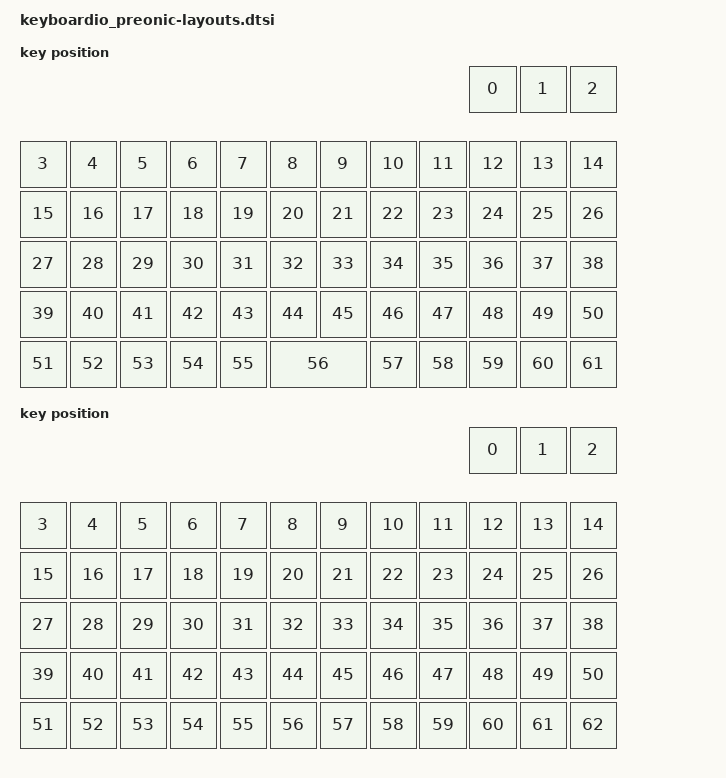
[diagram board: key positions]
/*
 * Copyright (c) 2025 Joshua T
 *
 * SPDX-License-Identifier: MIT
 */

#include <physical_layouts.dtsi>

/ {
    mit_layout: mit_layout {
        compatible = "zmk,physical-layout";
        display-name = "MIT - 2u Spacebar";
        transform = <&mit_transform>;
        kscan = <&kscan>;
        keys  //                     w   h    x    y     rot    rx    ry
            = <&key_physical_attrs 100 100  900    0       0     0     0>
            , <&key_physical_attrs 100 100 1000    0       0     0     0>
            , <&key_physical_attrs 100 100 1100    0       0     0     0>
            , <&key_physical_attrs 100 100    0  150       0     0     0>
            , <&key_physical_attrs 100 100  100  150       0     0     0>
            , <&key_physical_attrs 100 100  200  150       0     0     0>
            , <&key_physical_attrs 100 100  300  150       0     0     0>
            , <&key_physical_attrs 100 100  400  150       0     0     0>
            , <&key_physical_attrs 100 100  500  150       0     0     0>
            , <&key_physical_attrs 100 100  600  150       0     0     0>
            , <&key_physical_attrs 100 100  700  150       0     0     0>
            , <&key_physical_attrs 100 100  800  150       0     0     0>
            , <&key_physical_attrs 100 100  900  150       0     0     0>
            , <&key_physical_attrs 100 100 1000  150       0     0     0>
            , <&key_physical_attrs 100 100 1100  150       0     0     0>
            , <&key_physical_attrs 100 100    0  250       0     0     0>
            , <&key_physical_attrs 100 100  100  250       0     0     0>
            , <&key_physical_attrs 100 100  200  250       0     0     0>
            , <&key_physical_attrs 100 100  300  250       0     0     0>
            , <&key_physical_attrs 100 100  400  250       0     0     0>
            , <&key_physical_attrs 100 100  500  250       0     0     0>
            , <&key_physical_attrs 100 100  600  250       0     0     0>
            , <&key_physical_attrs 100 100  700  250       0     0     0>
            , <&key_physical_attrs 100 100  800  250       0     0     0>
            , <&key_physical_attrs 100 100  900  250       0     0     0>
            , <&key_physical_attrs 100 100 1000  250       0     0     0>
            , <&key_physical_attrs 100 100 1100  250       0     0     0>
            , <&key_physical_attrs 100 100    0  350       0     0     0>
            , <&key_physical_attrs 100 100  100  350       0     0     0>
            , <&key_physical_attrs 100 100  200  350       0     0     0>
            , <&key_physical_attrs 100 100  300  350       0     0     0>
            , <&key_physical_attrs 100 100  400  350       0     0     0>
            , <&key_physical_attrs 100 100  500  350       0     0     0>
            , <&key_physical_attrs 100 100  600  350       0     0     0>
            , <&key_physical_attrs 100 100  700  350       0     0     0>
            , <&key_physical_attrs 100 100  800  350       0     0     0>
            , <&key_physical_attrs 100 100  900  350       0     0     0>
            , <&key_physical_attrs 100 100 1000  350       0     0     0>
            , <&key_physical_attrs 100 100 1100  350       0     0     0>
            , <&key_physical_attrs 100 100    0  450       0     0     0>
            , <&key_physical_attrs 100 100  100  450       0     0     0>
            , <&key_physical_attrs 100 100  200  450       0     0     0>
            , <&key_physical_attrs 100 100  300  450       0     0     0>
            , <&key_physical_attrs 100 100  400  450       0     0     0>
            , <&key_physical_attrs 100 100  500  450       0     0     0>
            , <&key_physical_attrs 100 100  600  450       0     0     0>
            , <&key_physical_attrs 100 100  700  450       0     0     0>
            , <&key_physical_attrs 100 100  800  450       0     0     0>
            , <&key_physical_attrs 100 100  900  450       0     0     0>
            , <&key_physical_attrs 100 100 1000  450       0     0     0>
            , <&key_physical_attrs 100 100 1100  450       0     0     0>
            , <&key_physical_attrs 100 100    0  550       0     0     0>
            , <&key_physical_attrs 100 100  100  550       0     0     0>
            , <&key_physical_attrs 100 100  200  550       0     0     0>
            , <&key_physical_attrs 100 100  300  550       0     0     0>
            , <&key_physical_attrs 100 100  400  550       0     0     0>
            , <&key_physical_attrs 200 100  500  550       0     0     0>
            , <&key_physical_attrs 100 100  700  550       0     0     0>
            , <&key_physical_attrs 100 100  800  550       0     0     0>
            , <&key_physical_attrs 100 100  900  550       0     0     0>
            , <&key_physical_attrs 100 100 1000  550       0     0     0>
            , <&key_physical_attrs 100 100 1100  550       0     0     0>
            ;
    };

    ortho_layout: ortho_layout {
        compatible = "zmk,physical-layout";
        display-name = "Ortholinear - Full Grid";
        transform = <&ortho_transform>;
        kscan = <&kscan>;
        keys  //                     w   h    x    y     rot    rx    ry
            = <&key_physical_attrs 100 100  900    0       0     0     0>
            , <&key_physical_attrs 100 100 1000    0       0     0     0>
            , <&key_physical_attrs 100 100 1100    0       0     0     0>
            , <&key_physical_attrs 100 100    0  150       0     0     0>
            , <&key_physical_attrs 100 100  100  150       0     0     0>
            , <&key_physical_attrs 100 100  200  150       0     0     0>
            , <&key_physical_attrs 100 100  300  150       0     0     0>
            , <&key_physical_attrs 100 100  400  150       0     0     0>
            , <&key_physical_attrs 100 100  500  150       0     0     0>
            , <&key_physical_attrs 100 100  600  150       0     0     0>
            , <&key_physical_attrs 100 100  700  150       0     0     0>
            , <&key_physical_attrs 100 100  800  150       0     0     0>
            , <&key_physical_attrs 100 100  900  150       0     0     0>
            , <&key_physical_attrs 100 100 1000  150       0     0     0>
            , <&key_physical_attrs 100 100 1100  150       0     0     0>
            , <&key_physical_attrs 100 100    0  250       0     0     0>
            , <&key_physical_attrs 100 100  100  250       0     0     0>
            , <&key_physical_attrs 100 100  200  250       0     0     0>
            , <&key_physical_attrs 100 100  300  250       0     0     0>
            , <&key_physical_attrs 100 100  400  250       0     0     0>
            , <&key_physical_attrs 100 100  500  250       0     0     0>
            , <&key_physical_attrs 100 100  600  250       0     0     0>
            , <&key_physical_attrs 100 100  700  250       0     0     0>
            , <&key_physical_attrs 100 100  800  250       0     0     0>
            , <&key_physical_attrs 100 100  900  250       0     0     0>
            , <&key_physical_attrs 100 100 1000  250       0     0     0>
            , <&key_physical_attrs 100 100 1100  250       0     0     0>
            , <&key_physical_attrs 100 100    0  350       0     0     0>
            , <&key_physical_attrs 100 100  100  350       0     0     0>
            , <&key_physical_attrs 100 100  200  350       0     0     0>
            , <&key_physical_attrs 100 100  300  350       0     0     0>
            , <&key_physical_attrs 100 100  400  350       0     0     0>
            , <&key_physical_attrs 100 100  500  350       0     0     0>
            , <&key_physical_attrs 100 100  600  350       0     0     0>
            , <&key_physical_attrs 100 100  700  350       0     0     0>
            , <&key_physical_attrs 100 100  800  350       0     0     0>
            , <&key_physical_attrs 100 100  900  350       0     0     0>
            , <&key_physical_attrs 100 100 1000  350       0     0     0>
            , <&key_physical_attrs 100 100 1100  350       0     0     0>
            , <&key_physical_attrs 100 100    0  450       0     0     0>
            , <&key_physical_attrs 100 100  100  450       0     0     0>
            , <&key_physical_attrs 100 100  200  450       0     0     0>
            , <&key_physical_attrs 100 100  300  450       0     0     0>
            , <&key_physical_attrs 100 100  400  450       0     0     0>
            , <&key_physical_attrs 100 100  500  450       0     0     0>
            , <&key_physical_attrs 100 100  600  450       0     0     0>
            , <&key_physical_attrs 100 100  700  450       0     0     0>
            , <&key_physical_attrs 100 100  800  450       0     0     0>
            , <&key_physical_attrs 100 100  900  450       0     0     0>
            , <&key_physical_attrs 100 100 1000  450       0     0     0>
            , <&key_physical_attrs 100 100 1100  450       0     0     0>
            , <&key_physical_attrs 100 100    0  550       0     0     0>
            , <&key_physical_attrs 100 100  100  550       0     0     0>
            , <&key_physical_attrs 100 100  200  550       0     0     0>
            , <&key_physical_attrs 100 100  300  550       0     0     0>
            , <&key_physical_attrs 100 100  400  550       0     0     0>
            , <&key_physical_attrs 100 100  500  550       0     0     0>
            , <&key_physical_attrs 100 100  600  550       0     0     0>
            , <&key_physical_attrs 100 100  700  550       0     0     0>
            , <&key_physical_attrs 100 100  800  550       0     0     0>
            , <&key_physical_attrs 100 100  900  550       0     0     0>
            , <&key_physical_attrs 100 100 1000  550       0     0     0>
            , <&key_physical_attrs 100 100 1100  550       0     0     0>
            ;
    };

    position_map {
        compatible = "zmk,physical-layout-position-map";

        complete;

        // Ortho has keys 56 and 57
        // MIT has 56 and a gap where 57 would be

        mit_map: mit_map {
            physical-layout = <&mit_layout>;
            positions
                = <                            0  1  2>
                , < 3  4  5  6  7  8  9 10 11 12 13 14>
                , <15 16 17 18 19 20 21 22 23 24 25 26>
                , <27 28 29 30 31 32 33 34 35 36 37 38>
                , <39 40 41 42 43 44 45 46 47 48 49 50>
                , <51 52 53 54 55 56 62 57 58 59 60 61>
                ;
        };

        ortho_map: ortho_map {
            physical-layout = <&ortho_layout>;
            positions
                = <                            0  1  2>
                , < 3  4  5  6  7  8  9 10 11 12 13 14>
                , <15 16 17 18 19 20 21 22 23 24 25 26>
                , <27 28 29 30 31 32 33 34 35 36 37 38>
                , <39 40 41 42 43 44 45 46 47 48 49 50>
                , <51 52 53 54 55 56 57 58 59 60 61 62>
                ;
        };

    };
};

